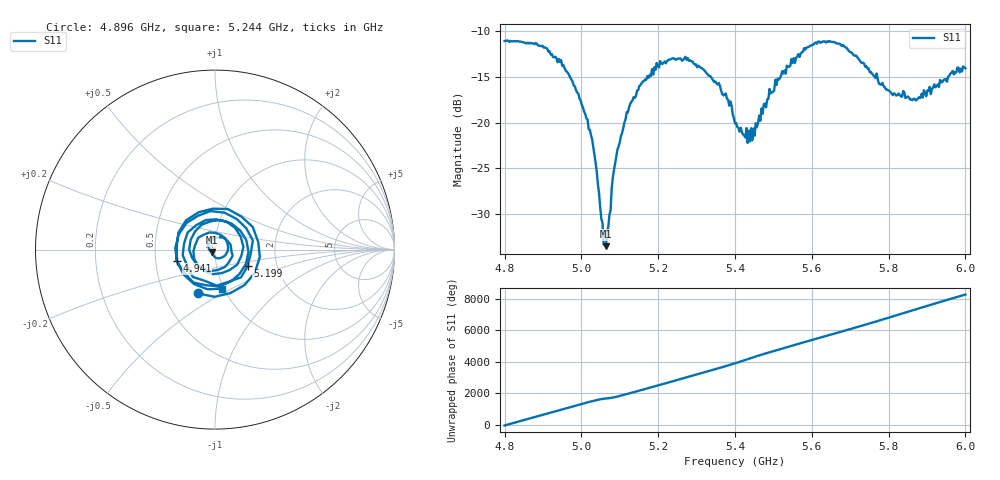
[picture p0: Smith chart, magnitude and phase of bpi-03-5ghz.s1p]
! NanoVNA-App
! Date: 2026-05-22 17:53:23
! Start: 4.8GHz Stop: 6GHz Points: 401
! S-Parameter data: F S11
# Hz S RI R 50
!  Frequency  S11_Real  S11_Imag
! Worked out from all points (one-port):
!   401 points, 4.8 GHz to 6 GHz, reference 50 ohm
!   lowest |S11| = -33.5 dB at 5.064 GHz (marker M1), VSWR 1.04, Z = 48.5 - j1.43 ohm
!   |S11| at or under -10 dB: start of sweep to end of sweep
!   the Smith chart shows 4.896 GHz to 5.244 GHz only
!   S11 on the Smith chart (normalised r, x): 4.896 GHz: 0.74, -0.39; 4.941 GHz: 0.64, -0.09; 5.199 GHz: 1.41, -0.28; 5.244 GHz: 0.97, -0.45
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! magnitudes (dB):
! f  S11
! 4.8 GHz  -11.1
! 4.896 GHz  -11.7
! 4.941 GHz  -13.0
! 4.95 GHz  -13.8
! 4.989 GHz  -16.7
! 5.022 GHz  -20.8
! 5.034 GHz  -23.6
! 5.055 GHz  -31.0
! 5.064 GHz  -33.5
! 5.07 GHz  -31.4
! 5.085 GHz  -25.1
! 5.1 GHz  -22.1
! 5.13 GHz  -17.7
! 5.199 GHz  -13.8
! 5.244 GHz  -13.1
! 5.25 GHz  -13.0
! 5.283 GHz  -13.2
! 5.355 GHz  -15.8
! 5.385 GHz  -18.1
! 5.4 GHz  -20.1
! 5.445 GHz  -21.9
! 5.49 GHz  -16.3
! 5.55 GHz  -13.5
! 5.613 GHz  -11.4
! 5.7 GHz  -12.3
! 5.805 GHz  -16.7
! 5.85 GHz  -17.1
! 6 GHz  -14.1
